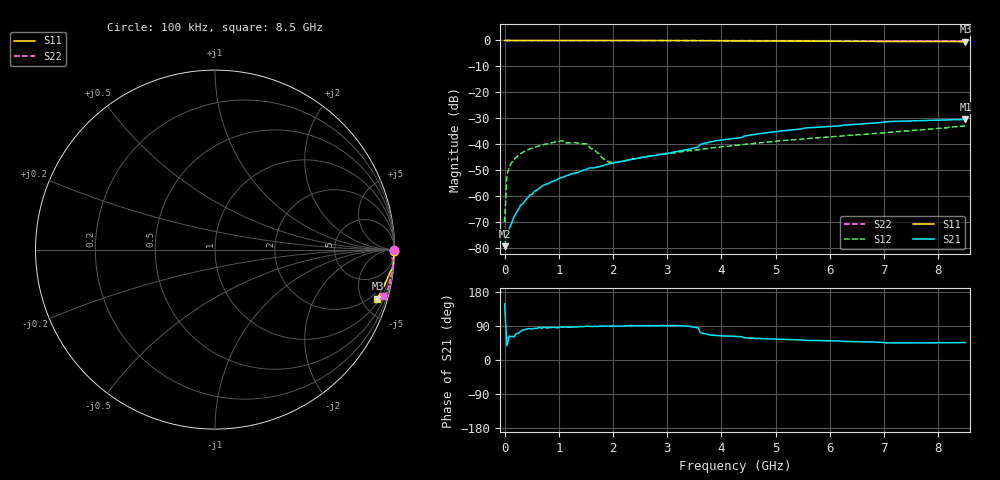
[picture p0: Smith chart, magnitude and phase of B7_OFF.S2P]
!Keysight Technologies,E5071C,MY46733702,B.14.02
!Date: Sat Jan 27 12:03:12 2024
!Data & Calibration Information:
!Freq	S33:SOLT2(ON)	S43:SOLT2(ON)	S34:SOLT2(ON)	S44:SOLT2(ON)
!PortZ  Port3:50+j0  Port4:50+j0
!Above PortZ is port z conversion or system Z0 setting when saving the data.
!When reading, reference impedance value at option line is always used.
# Hz S dB R 50
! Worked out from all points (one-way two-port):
!   201 points, 100 kHz to 8.5 GHz, reference 50 ohm
!   highest |S21| = -30.43 dB at 8.5 GHz (marker M1); lowest = -79.3 dB at 100 kHz (marker M2)
!   lowest |S11| = -0.5 dB at 8.5 GHz (marker M3), VSWR 35.58, Z = 63.5 - j326 ohm
!   |S11| at or under -10 dB: nowhere
!   |S22| runs from -0.3 to 0.0 dB; largest |S21 - S12| = 0.02
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100000  -0.01 -0.5  -79.27 148.1  -70.04 -0.1  -0.03 -0.0
4.25995e7  -0.01 -0.1  -74.49 37.4  -51.85 44.2  -0.03 -0.2
8.5099e7  -0.01 -0.2  -72.50 63.1  -48.80 44.3  -0.04 -0.4
2.125975e8  -0.01 -0.4  -66.46 69.0  -45.05 43.9  -0.06 -0.7
2.975965e8  -0.01 -0.6  -63.44 75.7  -43.61 43.1  -0.07 -0.9
4.675945e8  -0.01 -0.9  -59.50 82.6  -41.78 42.8  -0.08 -1.3
6.80092e8  -0.02 -1.3  -56.30 83.7  -40.41 42.9  -0.10 -1.8
1.062588e9  -0.02 -2.0  -52.80 86.0  -38.59 43.1  -0.13 -2.6
1.105087e9  -0.03 -2.0  -52.44 86.9  -39.48 49.5  -0.11 -2.7
1.445083e9  -0.03 -2.6  -49.97 87.8  -39.84 67.5  -0.07 -3.3
1.530082e9  -0.03 -2.8  -49.42 89.6  -39.87 66.4  -0.08 -3.5
1.572582e9  -0.03 -2.9  -49.11 88.6  -41.36 61.7  -0.08 -3.4
1.827578e9  -0.03 -3.3  -48.18 89.7  -45.60 74.3  -0.05 -3.5
1.955077e9  -0.03 -3.6  -47.51 89.4  -46.97 90.8  -0.03 -3.6
2.847566e9  -0.04 -5.1  -43.92 90.6  -43.93 90.0  -0.04 -5.1
3.40006e9  -0.06 -6.2  -41.95 88.8  -42.45 90.3  -0.05 -6.1
3.910054e9  -0.15 -7.6  -38.55 64.8  -41.13 91.0  -0.05 -6.9
4.25005e9  -0.18 -8.3  -37.74 62.4  -40.36 90.9  -0.05 -7.5
4.547546e9  -0.21 -8.9  -36.36 57.4  -39.83 90.7  -0.06 -8.1
5.695033e9  -0.29 -11.4  -33.56 51.7  -37.61 90.7  -0.08 -10.1
7.097516e9  -0.42 -14.2  -31.21 45.0  -35.39 91.0  -0.10 -12.6
8.5e9  -0.49 -16.8  -30.43 46.1  -32.92 74.3  -0.26 -15.4
